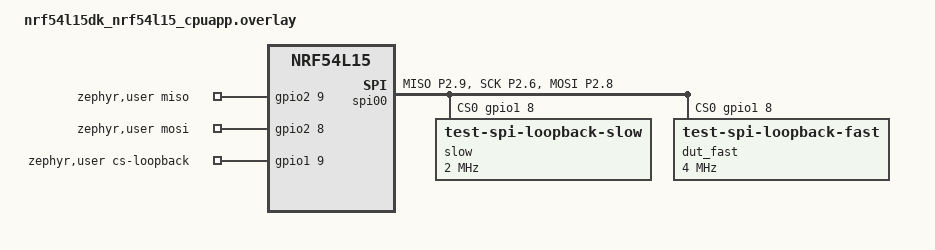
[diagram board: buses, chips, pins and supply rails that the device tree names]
/*
 * Copyright (c) 2024 Nordic Semiconductor ASA
 *
 * SPDX-License-Identifier: Apache-2.0
 */

/ {
	zephyr,user {
		miso-gpios = <&gpio2 9 GPIO_ACTIVE_HIGH>;
		mosi-gpios = <&gpio2 8 GPIO_ACTIVE_HIGH>;
		cs-loopback-gpios = <&gpio1 9 0>;
	};
};

&pinctrl {
	spi00_default: spi00_default {
		group1 {
			psels = <NRF_PSEL(SPIM_MISO, 2, 9)>;
		};

		group2 {
			psels = <NRF_PSEL(SPIM_SCK, 2, 6)>,
				<NRF_PSEL(SPIM_MOSI, 2, 8)>;
			nordic,drive-mode = <NRF_DRIVE_E0E1>;
		};
	};

	spi00_sleep: spi00_sleep {
		group1 {
			psels = <NRF_PSEL(SPIM_SCK, 2, 6)>,
				<NRF_PSEL(SPIM_MISO, 2, 9)>,
				<NRF_PSEL(SPIM_MOSI, 2, 8)>;
			low-power-enable;
		};
	};
};

/delete-node/ &mx25r64;

&spi00 {
	status = "okay";
	pinctrl-0 = <&spi00_default>;
	pinctrl-1 = <&spi00_sleep>;
	pinctrl-names = "default", "sleep";
	overrun-character = <0x00>;
	zephyr,pm-device-runtime-auto;
	cs-gpios = <&gpio1 8 0>;

	slow@0 {
		compatible = "test-spi-loopback-slow";
		reg = <0>;
		spi-max-frequency = <DT_FREQ_M(2)>;
	};

	dut_fast: fast@0 {
		compatible = "test-spi-loopback-fast";
		reg = <0>;
		spi-max-frequency = <DT_FREQ_M(4)>;
	};
};

&gpio1 {
	status = "okay";
};

&gpio2 {
	status = "okay";
};
